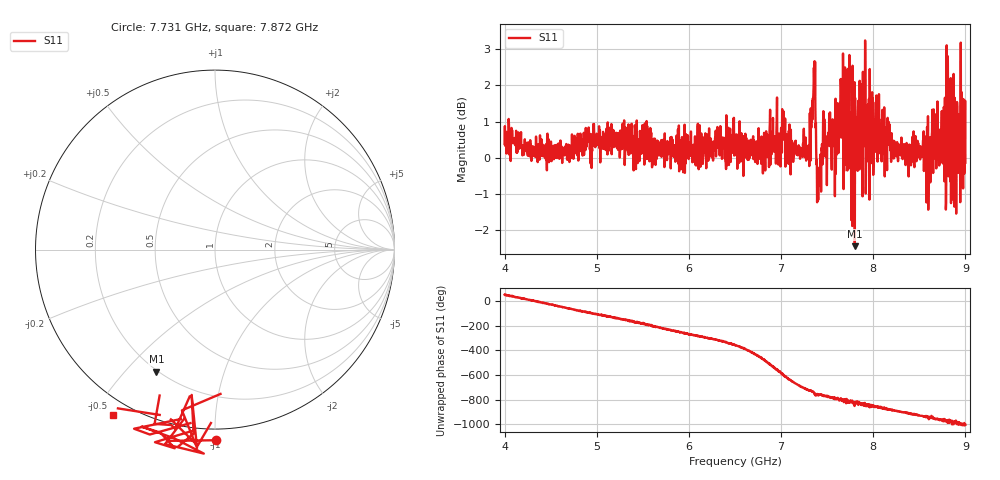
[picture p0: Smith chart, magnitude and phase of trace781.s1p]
! Created with skrf 1.8.0 (http://scikit-rf.org).
# Hz S RI R 50.0
!freq ReS11 ImS11
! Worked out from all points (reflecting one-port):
!   1601 points, 4 GHz to 9 GHz, reference 50 ohm
!   lowest |S11| = -2.4 dB at 7.8 GHz (marker M1), VSWR 7.15, Z = 9.68 - j30.6 ohm
!   phase of S11 starts at 50 deg and turns -1054 deg over the sweep
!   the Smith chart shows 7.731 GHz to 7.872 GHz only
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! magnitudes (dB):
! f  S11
! 4 GHz  0.4
! 4.625 GHz  -0.1
! 5.25 GHz  0.0
! 5.875 GHz  0.2
! 6.5 GHz  0.5
! 6.806 GHz  0.2
! 7.025 GHz  1.3
! 7.125 GHz  0.2
! 7.294 GHz  0.0
! 7.347 GHz  1.6
! 7.409 GHz  -0.7
! 7.462 GHz  0.3
! 7.597 GHz  0.7
! 7.65 GHz  1.9
! 7.75 GHz  -0.3
! 7.775 GHz  2.5
! 7.8 GHz  -2.4
! 7.891 GHz  0.3
! 7.944 GHz  1.5
! 8.05 GHz  1.3
! 8.375 GHz  0.1
! 8.597 GHz  -1.4
! 8.656 GHz  1.3
! 8.769 GHz  1.2
! 8.822 GHz  1.4
! 8.841 GHz  2.2
! 8.972 GHz  1.2
! 9 GHz  -0.1
